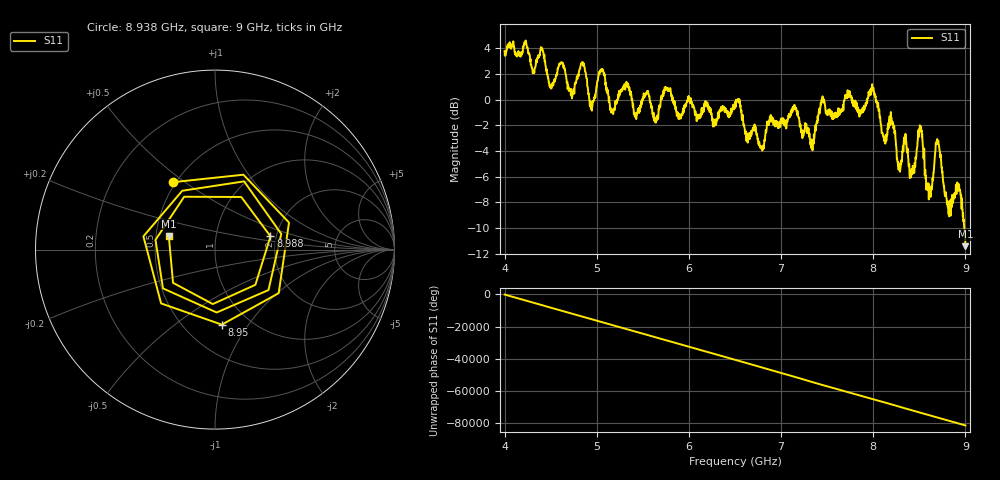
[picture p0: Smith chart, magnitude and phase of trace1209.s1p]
! Created with skrf 1.8.0 (http://scikit-rf.org).
# Hz S RI R 50.0
!freq ReS11 ImS11
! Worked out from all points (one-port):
!   1601 points, 4 GHz to 9 GHz, reference 50 ohm
!   lowest |S11| = -11.4 dB at 9 GHz (marker M1), VSWR 1.73, Z = 29.2 + j4.8 ohm
!   |S11| at or under -10 dB: 8.988247 GHz to end of sweep
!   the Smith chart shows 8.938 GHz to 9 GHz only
!   S11 on the Smith chart (normalised r, x): 8.938 GHz: 0.48, +0.45; 8.95 GHz: 0.75, -0.76; 8.988 GHz: 1.86, +0.31; 9 GHz: 0.58, +0.10
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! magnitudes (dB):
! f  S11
! 4 GHz  3.8
! 4.506 GHz  0.9
! 4.625 GHz  2.9
! 4.731 GHz  0.1
! 4.85 GHz  2.8
! 4.944 GHz  -0.5
! 5.047 GHz  2.2
! 5.162 GHz  -1.0
! 5.25 GHz  0.5
! 5.875 GHz  -1.2
! 6.5 GHz  -0.4
! 6.791 GHz  -3.8
! 7.125 GHz  -0.8
! 7.338 GHz  -3.4
! 7.45 GHz  0.3
! 7.75 GHz  0.2
! 7.994 GHz  1.0
! 8.116 GHz  -3.0
! 8.375 GHz  -4.1
! 8.422 GHz  -5.8
! 8.509 GHz  -2.1
! 8.6 GHz  -6.9
! 8.7 GHz  -3.3
! 8.819 GHz  -9.0
! 8.938 GHz  -7.1
! 8.95 GHz  -7.5
! 8.988 GHz  -10.0
! 9 GHz  -11.4
